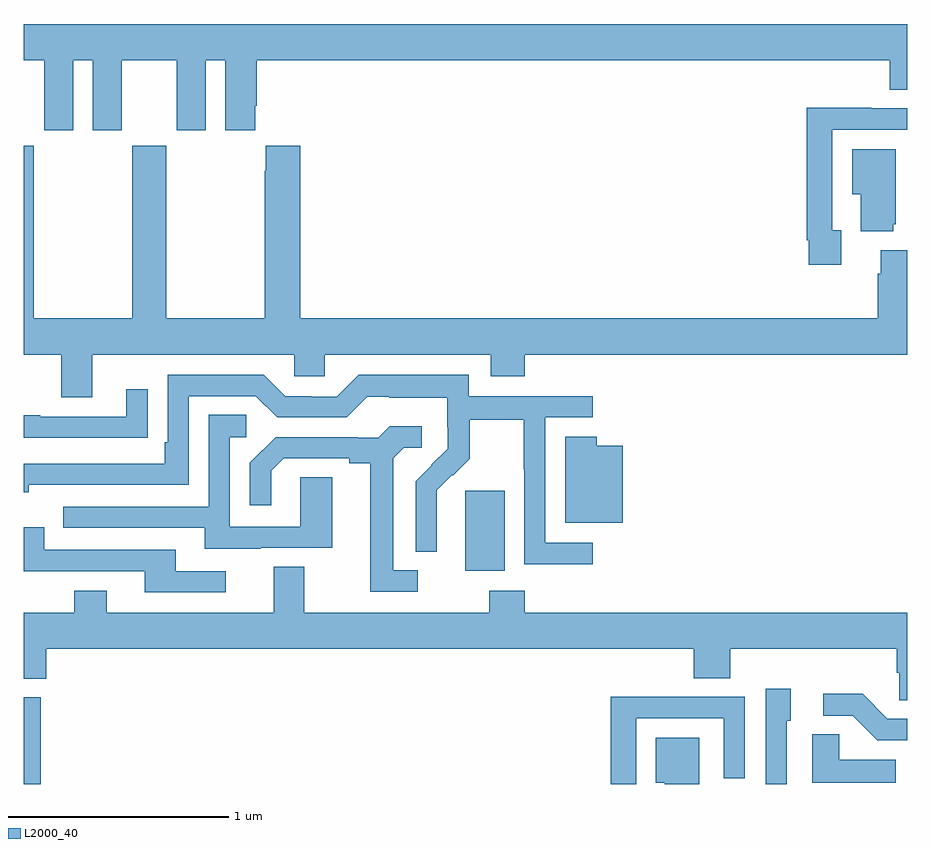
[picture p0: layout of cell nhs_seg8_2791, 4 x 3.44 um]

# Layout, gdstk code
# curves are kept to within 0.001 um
import gdstk
lib = gdstk.Library(unit=1e-6, precision=1e-09)
def R(c, l, rs):  # rectangles x0, y0, x1, y1
    for r in rs: c.add(gdstk.rectangle(r[:2], r[2:], *l))
def P(c, l, *ps):  # polygons
    for p in ps: c.add(gdstk.Polygon(p, *l))
L2000_40 = (2000, 40)

nhs_seg8_2791 = lib.new_cell('nhs_seg8_2791')
R(nhs_seg8_2791, L2000_40, [(287,1103.9,287.078,1104.292), (288.998,1104.866,289.177,1105.227)])
P(nhs_seg8_2791, L2000_40, [(287.224,1107.176),(287.312,1107.176),(287.312,1106.859),(287.443,1106.859),(287.443,1107.176),(287.693,1107.176),(287.693,1106.859),(287.824,1106.859),(287.824,1107.176),(287.912,1107.176),(287.912,1106.859),(288.049,1106.859),(288.049,1106.971),(288.056,1106.971),(288.056,1107.176),(290.921,1107.176),(290.921,1107.043),(291,1107.043),(291,1107.34),(287,1107.34),(287,1107.176),(287.093,1107.176),(287.093,1106.859),(287.224,1106.859)],
  [(290.701,1106.406),(290.661,1106.406),(290.661,1106.862),(291,1106.862),(291,1106.958),(290.837,1106.958),(290.837,1106.96),(290.545,1106.96),(290.545,1106.362),(290.553,1106.362),(290.553,1106.25),(290.701,1106.25)],
  [(287.311,1105.844),(288.225,1105.844),(288.225,1105.746),(288.363,1105.746),(288.363,1105.844),(289.115,1105.844),(289.115,1105.745),(289.268,1105.745),(289.268,1105.844),(291,1105.844),(291,1106.317),(290.879,1106.317),(290.879,1106.21),(290.867,1106.21),(290.867,1106.008),(288.251,1106.008),(288.251,1106.788),(288.095,1106.788),(288.095,1106.675),(288.091,1106.675),(288.091,1106.008),(287.646,1106.008),(287.646,1106.788),(287.491,1106.788),(287.491,1106.008),(287.046,1106.008),(287.046,1106.788),(287,1106.788),(287,1105.844),(287.171,1105.844),(287.171,1105.65),(287.311,1105.65)],
  [(290.936,1106.433),(290.947,1106.433),(290.947,1106.773),(290.75,1106.773),(290.75,1106.57),(290.789,1106.57),(290.789,1106.402),(290.936,1106.402)],
  [(289.576,1104.993),(289.362,1104.993),(289.362,1105.56),(289.576,1105.56),(289.576,1105.656),(289.014,1105.656),(289.014,1105.753),(288.517,1105.753),(288.417,1105.653),(288.302,1105.653),(288.302,1105.656),(288.183,1105.656),(288.087,1105.752),(287.652,1105.752),(287.652,1105.447),(287.639,1105.447),(287.639,1105.35),(287,1105.35),(287,1105.22),(287.024,1105.22),(287.024,1105.254),(287.748,1105.254),(287.748,1105.656),(288.051,1105.656),(288.147,1105.56),(288.462,1105.56),(288.555,1105.653),(288.655,1105.653),(288.655,1105.649),(288.918,1105.649),(288.918,1105.515),(288.92,1105.515),(288.92,1105.418),(288.774,1105.27),(288.774,1104.952),(288.87,1104.952),(288.869,1105.229),(288.939,1105.299),(288.942,1105.296),(289.019,1105.373),(289.019,1105.548),(289.264,1105.548),(289.264,1105.324),(289.266,1105.324),(289.266,1104.895),(289.576,1104.895)],
  [(287.459,1105.468),(287.561,1105.468),(287.561,1105.687),(287.465,1105.687),(287.465,1105.563),(287.075,1105.563),(287.075,1105.568),(287,1105.568),(287,1105.467),(287.459,1105.467)],
  [(288.073,1104.969),(288.397,1104.969),(288.397,1105.289),(288.252,1105.289),(288.252,1105.065),(287.934,1105.065),(287.934,1105.47),(288.007,1105.47),(288.007,1105.571),(287.838,1105.571),(287.838,1105.155),(287.179,1105.155),(287.179,1105.059),(287.819,1105.059),(287.819,1104.965),(288.073,1104.965)],
  [(288.784,1104.867),(288.673,1104.867),(288.673,1105.375),(288.72,1105.422),(288.802,1105.422),(288.802,1105.519),(288.658,1105.519),(288.606,1105.467),(288.512,1105.467),(288.512,1105.47),(288.14,1105.47),(288.024,1105.354),(288.024,1105.161),(288.121,1105.161),(288.121,1105.317),(288.178,1105.374),(288.473,1105.374),(288.473,1105.352),(288.569,1105.352),(288.569,1104.771),(288.784,1104.771)],
  [(289.711,1105.432),(289.595,1105.432),(289.595,1105.471),(289.451,1105.471),(289.451,1105.082),(289.711,1105.082)],
  [(287.914,1104.864),(287.689,1104.864),(287.689,1104.96),(287.094,1104.96),(287.094,1105.063),(287,1105.063),(287,1104.864),(287.549,1104.864),(287.549,1104.768),(287.914,1104.768)],
  [(291,1104.676),(289.268,1104.676),(289.268,1104.775),(289.108,1104.775),(289.108,1104.676),(288.271,1104.676),(288.271,1104.884),(288.131,1104.884),(288.131,1104.676),(287.377,1104.676),(287.377,1104.775),(287.23,1104.775),(287.23,1104.676),(287,1104.676),(287,1104.377),(287.102,1104.377),(287.102,1104.512),(290.033,1104.512),(290.033,1104.379),(290.198,1104.379),(290.198,1104.512),(290.951,1104.512),(290.951,1104.403),(290.964,1104.403),(290.964,1104.28),(291,1104.28)],
  [(290.454,1104.186),(290.473,1104.186),(290.473,1104.331),(290.358,1104.331),(290.358,1103.9),(290.454,1103.9)],
  [(291,1104.195),(290.91,1104.195),(290.797,1104.308),(290.619,1104.308),(290.619,1104.21),(290.753,1104.21),(290.864,1104.099),(291,1104.099)],
  [(289.773,1104.198),(290.169,1104.198),(290.169,1103.925),(290.265,1103.925),(290.265,1104.294),(289.949,1104.294),(289.949,1104.296),(289.657,1104.296),(289.657,1103.9),(289.773,1103.9)],
  [(290.948,1104.01),(290.691,1104.01),(290.691,1104.125),(290.57,1104.125),(290.57,1103.906),(290.948,1103.906)],
  [(290.059,1104.109),(289.862,1104.109),(289.862,1103.906),(289.901,1103.906),(289.901,1103.9),(290.059,1103.9)])

lib.write_gds('nhs_seg8_2791.gds')
